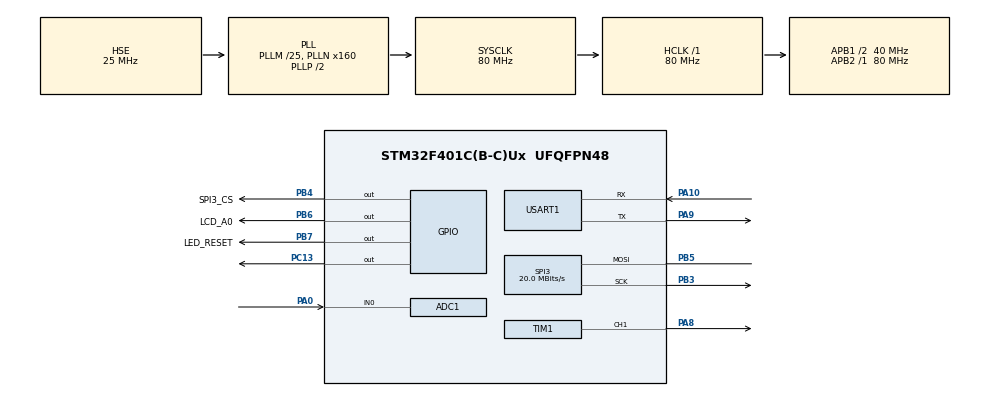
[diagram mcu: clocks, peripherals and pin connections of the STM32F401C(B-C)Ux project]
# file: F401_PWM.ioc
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ADC1.Channel-1\#ChannelRegularConversion=ADC_CHANNEL_0
ADC1.NbrOfConversion=1
ADC1.NbrOfConversionFlag=1
ADC1.Rank-1\#ChannelRegularConversion=1
ADC1.SamplingTime-1\#ChannelRegularConversion=ADC_SAMPLETIME_3CYCLES
ADC1.ScanConvMode=DISABLE
ADC1.master=1
Mcu.Family=STM32F4
Mcu.Name=STM32F401C(B-C)Ux
Mcu.Package=UFQFPN48
NVIC.PriorityGroup=NVIC_PRIORITYGROUP_4
PA0-WKUP.Signal=ADCx_IN0
PA10.Mode=Asynchronous
PA10.Signal=USART1_RX
PA13.Mode=Serial_Wire
PA13.Signal=SYS_JTMS-SWDIO
PA14.Mode=Serial_Wire
PA14.Signal=SYS_JTCK-SWCLK
PA8.Signal=S_TIM1_CH1
PA9.Mode=Asynchronous
PA9.Signal=USART1_TX
PB3.Mode=Simplex_Bidirectional_Master
PB3.Signal=SPI3_SCK
PB4.GPIO_Label=SPI3_CS
PB4.Signal=GPIO_Output
PB5.Mode=Simplex_Bidirectional_Master
PB5.Signal=SPI3_MOSI
PB6.GPIO_Label=LCD_A0
PB6.Signal=GPIO_Output
PB7.GPIO_Label=LED_RESET
PB7.Signal=GPIO_Output
PC13-ANTI_TAMP.Signal=GPIO_Output
PH0\ -\ OSC_IN.Mode=HSE-External-Oscillator
PH0\ -\ OSC_IN.Signal=RCC_OSC_IN
PH1\ -\ OSC_OUT.Mode=HSE-External-Oscillator
PH1\ -\ OSC_OUT.Signal=RCC_OSC_OUT
ProjectManager.HeapSize=0x200
ProjectManager.StackSize=0x400
ProjectManager.TargetToolchain=MDK-ARM V5.27
RCC.48MHZClocksFreq_Value=40000000
RCC.AHBFreq_Value=80000000
RCC.APB1CLKDivider=RCC_HCLK_DIV2
RCC.APB1Freq_Value=40000000
RCC.APB1TimFreq_Value=80000000
RCC.APB2Freq_Value=80000000
RCC.APB2TimFreq_Value=80000000
RCC.CortexFreq_Value=80000000
RCC.HCLKFreq_Value=80000000
RCC.HSE_VALUE=25000000
RCC.HSI_VALUE=16000000
RCC.LSE_VALUE=32768
RCC.PLLM=25
RCC.PLLN=160
RCC.PLLSourceVirtual=RCC_PLLSOURCE_HSE
RCC.SYSCLKFreq_VALUE=80000000
RCC.SYSCLKSource=RCC_SYSCLKSOURCE_PLLCLK
RCC.VCOOutputFreq_Value=160000000
SH.ADCx_IN0.0=ADC1_IN0,IN0
SH.S_TIM1_CH1.0=TIM1_CH1,PWM Generation1 CH1
SPI3.BaudRatePrescaler=SPI_BAUDRATEPRESCALER_2
SPI3.CalculateBaudRate=20.0 MBits/s
SPI3.Direction=SPI_DIRECTION_1LINE
SPI3.Mode=SPI_MODE_MASTER
SPI3.VirtualType=VM_MASTER
TIM1.Channel-PWM\ Generation1\ CH1=TIM_CHANNEL_1
TIM1.Period=4000
TIM1.Prescaler=8
USART1.VirtualMode=VM_ASYNC
board=custom

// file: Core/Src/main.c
/* USER CODE BEGIN Header */
/**
  ******************************************************************************
  * @file           : main.c
  * @brief          : Main program body
  ******************************************************************************
  * @attention
  *
  * <h2><center>&copy; Copyright (c) 2022 STMicroelectronics.
  * All rights reserved.</center></h2>
  *
  * This software component is licensed by ST under BSD 3-Clause license,
  * the "License"; You may not use this file except in compliance with the
  * License. You may obtain a copy of the License at:
  *                        opensource.org/licenses/BSD-3-Clause
  *
  ******************************************************************************
  */
/* USER CODE END Header */
#include "main.h"
#include "adc.h"
#include "spi.h"
#include "tim.h"
#include "usart.h"
#include "gpio.h"

/* USER CODE BEGIN Includes */
#include "DefineFont.h"
#include "delay.h"
#include "st7735.h"
#include "stdio.h"
#include "string.h"
/* USER CODE END Includes */

/* USER CODE BEGIN PD */
#define PERIOD 100
/* USER CODE END PD */

/* USER CODE BEGIN PV */
volatile uint8_t flag = 0; //флаг окончания преобразования АЦП
volatile uint16_t adc[2] = {0}; //  два канала АЦП поэтому массив из двух элементо
uint16_t value_adc = 0;

char	led_buffer [30];
uint8_t dimension = 10;

unsigned int duty_ch1 = 0; // длительность импульсов Ш�?М канала 1 таймера1
/* USER CODE END PV */

void SystemClock_Config(void);

int main(void)
{

  /* MCU Configuration--------------------------------------------------------*/

  /* Reset of all peripherals, Initializes the Flash interface and the Systick. */
  HAL_Init();

  /* Configure the system clock */
  SystemClock_Config();

  /* Initialize all configured peripherals */
  MX_GPIO_Init();
  MX_SPI3_Init();
  MX_TIM1_Init();
  MX_USART1_UART_Init();
  MX_ADC1_Init();
  /* USER CODE BEGIN 2 */
	HAL_UART_Transmit (&huart1, (uint8_t *)"start\r\n", strlen ("start\r\n"), 0xFFFF);

	lcdInit();
	ClearLcdMemory();
	LCD_SetFont(Arial_15x17,black);
	LCD_ShowString(5,10,"RC522 Config reader");
	LCD_Refresh();

	LED(1);
	HAL_TIM_PWM_Start(&htim1, TIM_CHANNEL_1);
	HAL_Delay (100);
//	HAL_ADC_Start_DMA(&hadc1, (uint32_t*)&adc, 2); // старт АЦП с DMA

  /* USER CODE END 2 */

  /* Infinite loop */
  /* USER CODE BEGIN WHILE */
  while (1)
  {
/*
		duty_ch1 += PERIOD/50; // прибавляем длительность импульса  PWM по 1
    TIM1->CCR1 = duty_ch1;
    if(duty_ch1 >= PERIOD)
    {
       duty_ch1 = 0;
    }
		HAL_Delay (500);*/

		HAL_ADC_Start (&hadc1); // старт АЦП
		HAL_ADC_PollForConversion (&hadc1, 100);
		adc[0] = HAL_ADC_GetValue (&hadc1);
		if (adc[0] >= 4000)
		{
				adc[0] = 4000;
		}
		HAL_TIM_PWM_Stop(&htim1, TIM_CHANNEL_1);
		TIM1->CCR1 = adc [0] ; //впишем в нашу настройку длительности импульса Ш�?М разницу между полученными значениями
		HAL_TIM_PWM_Start(&htim1, TIM_CHANNEL_1); //запустим Ш�?М
	//	adc[0] = 0; adc[1] = 0; //обнулим принятые значения АЦП

		sprintf (led_buffer, "ADC %u ", adc[0]);
		ClearLcdMemory();
		LCD_ShowString(5, dimension, led_buffer);
		LCD_Refresh();

		if (((GPIOC->ODR) & (GPIO_ODR_OD13)) == GPIO_ODR_OD13)
		{LED(1);}
		else
		{LED(0);}

		HAL_Delay(500);
	//	HAL_ADC_Start_DMA(&hadc1, (uint32_t*)&adc, 2); // запускаем преобразование сигнала АЦП1
    /* USER CODE END WHILE */

  }
}

void SystemClock_Config(void)
{
  RCC_OscInitTypeDef RCC_OscInitStruct = {0};
  RCC_ClkInitTypeDef RCC_ClkInitStruct = {0};

  /** Configure the main internal regulator output voltage
  */
  __HAL_RCC_PWR_CLK_ENABLE();
  __HAL_PWR_VOLTAGESCALING_CONFIG(PWR_REGULATOR_VOLTAGE_SCALE2);
  /** Initializes the RCC Oscillators according to the specified parameters
  * in the RCC_OscInitTypeDef structure.
  */
  RCC_OscInitStruct.OscillatorType = RCC_OSCILLATORTYPE_HSE;
  RCC_OscInitStruct.HSEState = RCC_HSE_ON;
  RCC_OscInitStruct.PLL.PLLState = RCC_PLL_ON;
  RCC_OscInitStruct.PLL.PLLSource = RCC_PLLSOURCE_HSE;
  RCC_OscInitStruct.PLL.PLLM = 25;
  RCC_OscInitStruct.PLL.PLLN = 160;
  RCC_OscInitStruct.PLL.PLLP = RCC_PLLP_DIV2;
  RCC_OscInitStruct.PLL.PLLQ = 4;
  if (HAL_RCC_OscConfig(&RCC_OscInitStruct) != HAL_OK)
  {
    Error_Handler();
  }
  /** Initializes the CPU, AHB and APB buses clocks
  */
  RCC_ClkInitStruct.ClockType = RCC_CLOCKTYPE_HCLK|RCC_CLOCKTYPE_SYSCLK
                              |RCC_CLOCKTYPE_PCLK1|RCC_CLOCKTYPE_PCLK2;
  RCC_ClkInitStruct.SYSCLKSource = RCC_SYSCLKSOURCE_PLLCLK;
  RCC_ClkInitStruct.AHBCLKDivider = RCC_SYSCLK_DIV1;
  RCC_ClkInitStruct.APB1CLKDivider = RCC_HCLK_DIV2;
  RCC_ClkInitStruct.APB2CLKDivider = RCC_HCLK_DIV1;

  if (HAL_RCC_ClockConfig(&RCC_ClkInitStruct, FLASH_LATENCY_2) != HAL_OK)
  {
    Error_Handler();
  }
}

/* USER CODE BEGIN 4 */
void HAL_ADC_ConvCpltCallback(ADC_HandleTypeDef* hadc)
{
    if(hadc->Instance == ADC1)
    {
    	flag = 1;
    }
}

void HAL_ADC_ErrorCallback(ADC_HandleTypeDef *hadc)
{
	if(hadc->Instance == ADC1)
	{
		HAL_UART_Transmit(&huart1, (uint8_t*)"ADC1_error\n\r", strlen("ADC1_error\n\r"), 1000);
	}
}
/* USER CODE END 4 */

void Error_Handler(void)
{
  __disable_irq();
  while (1)
  {
  }
}

/************************ (C) COPYRIGHT STMicroelectronics *****END OF FILE****/
